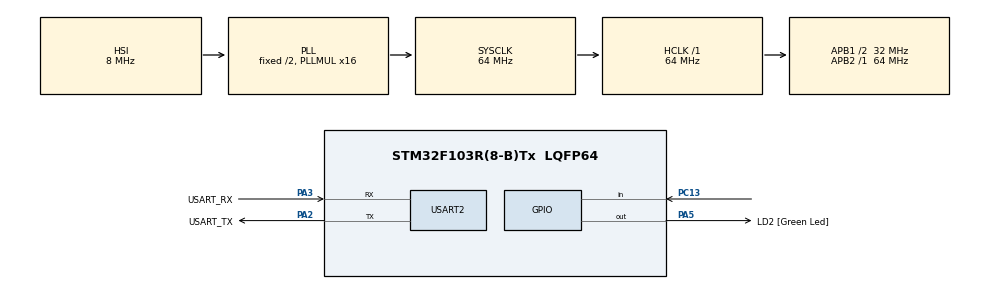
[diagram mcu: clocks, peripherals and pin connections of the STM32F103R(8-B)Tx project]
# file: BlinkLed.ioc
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Mcu.Family=STM32F1
Mcu.Name=STM32F103R(8-B)Tx
Mcu.Package=LQFP64
NVIC.PriorityGroup=NVIC_PRIORITYGROUP_4
NVIC.TIM3_IRQn=true\:0\:0\:false\:true\:true\:1\:true\:true\:true
PA13.GPIO_Label=TMS
PA13.Mode=Serial_Wire
PA13.Signal=SYS_JTMS-SWDIO
PA14.GPIO_Label=TCK
PA14.Mode=Serial_Wire
PA14.Signal=SYS_JTCK-SWCLK
PA2.GPIO_Label=USART_TX
PA2.GPIO_Mode=GPIO_MODE_AF_PP
PA2.GPIO_PuPd=GPIO_NOPULL
PA2.GPIO_Speed=GPIO_SPEED_FREQ_LOW
PA2.Mode=Asynchronous
PA2.Signal=USART2_TX
PA3.GPIO_Label=USART_RX
PA3.GPIO_Mode=GPIO_MODE_AF_PP
PA3.GPIO_PuPd=GPIO_NOPULL
PA3.GPIO_Speed=GPIO_SPEED_FREQ_LOW
PA3.Mode=Asynchronous
PA3.Signal=USART2_RX
PA5.GPIO_Label=LD2 [Green Led]
PA5.GPIO_ModeDefaultOutputPP=GPIO_MODE_OUTPUT_PP
PA5.GPIO_PuPd=GPIO_NOPULL
PA5.GPIO_Speed=GPIO_SPEED_FREQ_LOW
PA5.Signal=GPIO_Output
PB3.GPIO_Label=SWO
PB3.Signal=SYS_JTDO-TRACESWO
PC13-TAMPER-RTC.GPIO_PuPd=GPIO_PULLUP
PC13-TAMPER-RTC.Signal=GPIO_Input
PC14-OSC32_IN.Mode=LSE-External-Oscillator
PC14-OSC32_IN.Signal=RCC_OSC32_IN
PC15-OSC32_OUT.Mode=LSE-External-Oscillator
PC15-OSC32_OUT.Signal=RCC_OSC32_OUT
PD0-OSC_IN.Mode=HSE-External-Clock-Source
PD0-OSC_IN.Signal=RCC_OSC_IN
PD1-OSC_OUT.Mode=HSE-External-Clock-Source
PD1-OSC_OUT.Signal=RCC_OSC_OUT
ProjectManager.HeapSize=0x200
ProjectManager.StackSize=0x400
ProjectManager.TargetToolchain=STM32CubeIDE
RCC.AHBFreq_Value=64000000
RCC.APB1CLKDivider=RCC_HCLK_DIV2
RCC.APB1Freq_Value=32000000
RCC.APB1TimFreq_Value=64000000
RCC.APB2Freq_Value=64000000
RCC.APB2TimFreq_Value=64000000
RCC.HCLKFreq_Value=64000000
RCC.PLLMUL=RCC_PLL_MUL16
RCC.RTCClockSelection=RCC_RTCCLKSOURCE_LSE
RCC.SYSCLKFreq_VALUE=64000000
RCC.SYSCLKSource=RCC_SYSCLKSOURCE_PLLCLK
RCC.USBFreq_Value=64000000
TIM3.Period=1000-1
TIM3.Prescaler=64000-1
USART2.VirtualMode=VM_ASYNC
VP_TIM3_VS_ClockSourceINT.Mode=Internal
board=NUCLEO-F103RB

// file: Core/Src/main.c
/* USER CODE BEGIN Header */
/**
  ******************************************************************************
  * @file           : main.c
  * @brief          : Main program body
  ******************************************************************************
  * @attention
  *
  * Copyright (c) 2023 STMicroelectronics.
  * All rights reserved.
  *
  * This software is licensed under terms that can be found in the LICENSE file
  * in the root directory of this software component.
  * If no LICENSE file comes with this software, it is provided AS-IS.
  *
  ******************************************************************************
  */
/* USER CODE END Header */
#include "main.h"

/* USER CODE BEGIN Includes */
#include <stdbool.h>
/* USER CODE END Includes */

/* USER CODE BEGIN PD */

enum {
	CURRENT_PRESSED = 0,
	CURRENT_UNPRESSED = 1
};

enum {
	FALSE = 0,
	TRUE = 1
};
volatile unsigned int gTick;
volatile bool bFlgPC13 = 1;
volatile bool flag = 0;
volatile bool toggle = 0;
/* USER CODE END PD */

TIM_HandleTypeDef htim3;

UART_HandleTypeDef huart2;

void SystemClock_Config(void);
static void MX_GPIO_Init(void);
static void MX_USART2_UART_Init(void);
static void MX_TIM3_Init(void);
static void MX_NVIC_Init(void);
/* USER CODE BEGIN PFP */

void HAL_TIM_PeriodElapsedCallback(TIM_HandleTypeDef *htim)
{
  if(htim->Instance == TIM3 && flag == TRUE)
  {
	  HAL_GPIO_TogglePin(GPIOA, GPIO_PIN_5);
  } else {

	  HAL_GPIO_WritePin(GPIOA, GPIO_PIN_5, 0);
  }

}
/* USER CODE END PFP */

int main(void)
{

  /* MCU Configuration--------------------------------------------------------*/

  /* Reset of all peripherals, Initializes the Flash interface and the Systick. */
  HAL_Init();

  /* Configure the system clock */
  SystemClock_Config();

  /* Initialize all configured peripherals */
  MX_GPIO_Init();
  MX_USART2_UART_Init();
  MX_TIM3_Init();

  /* Initialize interrupts */
  MX_NVIC_Init();
  /* USER CODE BEGIN 2 */

  HAL_TIM_Base_Start_IT(&htim3);

  /* USER CODE END 2 */

  /* Infinite loop */
  while (1)
  {
	  bFlgPC13 = HAL_GPIO_ReadPin(GPIOC, GPIO_PIN_13);
	        if (bFlgPC13 == CURRENT_PRESSED)
	        {
	      	  flag ^= 1;
	        }
  }
}

void SystemClock_Config(void)
{
  RCC_OscInitTypeDef RCC_OscInitStruct = {0};
  RCC_ClkInitTypeDef RCC_ClkInitStruct = {0};

  /** Initializes the RCC Oscillators according to the specified parameters
  * in the RCC_OscInitTypeDef structure.
  */
  RCC_OscInitStruct.OscillatorType = RCC_OSCILLATORTYPE_HSI;
  RCC_OscInitStruct.HSIState = RCC_HSI_ON;
  RCC_OscInitStruct.HSICalibrationValue = RCC_HSICALIBRATION_DEFAULT;
  RCC_OscInitStruct.PLL.PLLState = RCC_PLL_ON;
  RCC_OscInitStruct.PLL.PLLSource = RCC_PLLSOURCE_HSI_DIV2;
  RCC_OscInitStruct.PLL.PLLMUL = RCC_PLL_MUL16;
  if (HAL_RCC_OscConfig(&RCC_OscInitStruct) != HAL_OK)
  {
    Error_Handler();
  }

  /** Initializes the CPU, AHB and APB buses clocks
  */
  RCC_ClkInitStruct.ClockType = RCC_CLOCKTYPE_HCLK|RCC_CLOCKTYPE_SYSCLK
                              |RCC_CLOCKTYPE_PCLK1|RCC_CLOCKTYPE_PCLK2;
  RCC_ClkInitStruct.SYSCLKSource = RCC_SYSCLKSOURCE_PLLCLK;
  RCC_ClkInitStruct.AHBCLKDivider = RCC_SYSCLK_DIV1;
  RCC_ClkInitStruct.APB1CLKDivider = RCC_HCLK_DIV2;
  RCC_ClkInitStruct.APB2CLKDivider = RCC_HCLK_DIV1;

  if (HAL_RCC_ClockConfig(&RCC_ClkInitStruct, FLASH_LATENCY_2) != HAL_OK)
  {
    Error_Handler();
  }
}

/**
  * @brief NVIC Configuration.
  * @retval None
  */
static void MX_NVIC_Init(void)
{
  /* TIM3_IRQn interrupt configuration */
  HAL_NVIC_SetPriority(TIM3_IRQn, 0, 0);
  HAL_NVIC_EnableIRQ(TIM3_IRQn);
}

static void MX_TIM3_Init(void)
{

  TIM_ClockConfigTypeDef sClockSourceConfig = {0};
  TIM_MasterConfigTypeDef sMasterConfig = {0};

  htim3.Instance = TIM3;
  htim3.Init.Prescaler = 64000-1;
  htim3.Init.CounterMode = TIM_COUNTERMODE_UP;
  htim3.Init.Period = 1000-1;
  htim3.Init.ClockDivision = TIM_CLOCKDIVISION_DIV1;
  htim3.Init.AutoReloadPreload = TIM_AUTORELOAD_PRELOAD_DISABLE;
  if (HAL_TIM_Base_Init(&htim3) != HAL_OK)
  {
    Error_Handler();
  }
  sClockSourceConfig.ClockSource = TIM_CLOCKSOURCE_INTERNAL;
  if (HAL_TIM_ConfigClockSource(&htim3, &sClockSourceConfig) != HAL_OK)
  {
    Error_Handler();
  }
  sMasterConfig.MasterOutputTrigger = TIM_TRGO_RESET;
  sMasterConfig.MasterSlaveMode = TIM_MASTERSLAVEMODE_DISABLE;
  if (HAL_TIMEx_MasterConfigSynchronization(&htim3, &sMasterConfig) != HAL_OK)
  {
    Error_Handler();
  }

}

static void MX_USART2_UART_Init(void)
{

  huart2.Instance = USART2;
  huart2.Init.BaudRate = 115200;
  huart2.Init.WordLength = UART_WORDLENGTH_8B;
  huart2.Init.StopBits = UART_STOPBITS_1;
  huart2.Init.Parity = UART_PARITY_NONE;
  huart2.Init.Mode = UART_MODE_TX_RX;
  huart2.Init.HwFlowCtl = UART_HWCONTROL_NONE;
  huart2.Init.OverSampling = UART_OVERSAMPLING_16;
  if (HAL_UART_Init(&huart2) != HAL_OK)
  {
    Error_Handler();
  }

}

static void MX_GPIO_Init(void)
{
  GPIO_InitTypeDef GPIO_InitStruct = {0};

  /* GPIO Ports Clock Enable */
  __HAL_RCC_GPIOC_CLK_ENABLE();
  __HAL_RCC_GPIOD_CLK_ENABLE();
  __HAL_RCC_GPIOA_CLK_ENABLE();
  __HAL_RCC_GPIOB_CLK_ENABLE();

  /*Configure GPIO pin Output Level */
  HAL_GPIO_WritePin(LD2_GPIO_Port, LD2_Pin, GPIO_PIN_RESET);

  /*Configure GPIO pin : PC13 */
  GPIO_InitStruct.Pin = GPIO_PIN_13;
  GPIO_InitStruct.Mode = GPIO_MODE_INPUT;
  GPIO_InitStruct.Pull = GPIO_PULLUP;
  HAL_GPIO_Init(GPIOC, &GPIO_InitStruct);

  /*Configure GPIO pin : LD2_Pin */
  GPIO_InitStruct.Pin = LD2_Pin;
  GPIO_InitStruct.Mode = GPIO_MODE_OUTPUT_PP;
  GPIO_InitStruct.Pull = GPIO_NOPULL;
  GPIO_InitStruct.Speed = GPIO_SPEED_FREQ_LOW;
  HAL_GPIO_Init(LD2_GPIO_Port, &GPIO_InitStruct);

}

void Error_Handler(void)
{
  __disable_irq();
  while (1)
  {
  }
}
